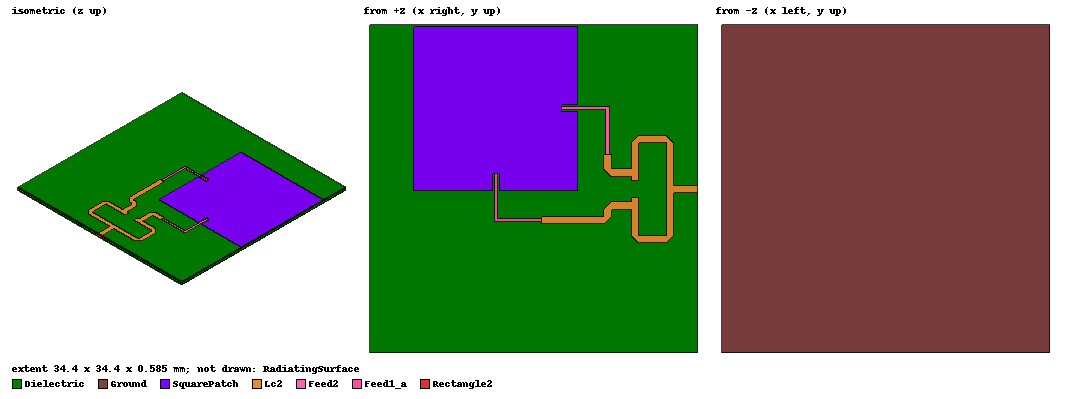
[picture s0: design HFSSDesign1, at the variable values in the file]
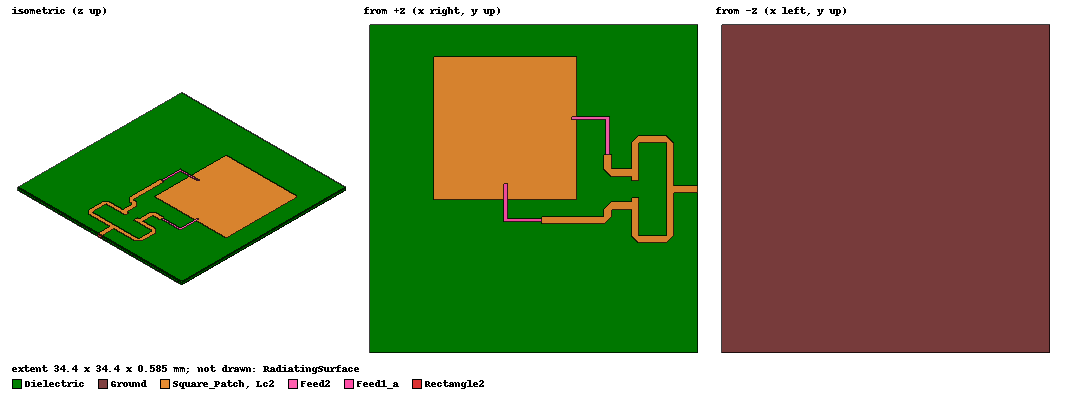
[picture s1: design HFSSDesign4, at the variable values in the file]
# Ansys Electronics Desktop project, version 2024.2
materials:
  vacuum: permittivity=1
  copper: permeability=0.999991 conductivity=58000000
  Rogers RO3003 (tm): permittivity=3 dielectric_loss_tangent=0.0013
  FR4_epoxy: permittivity=4.4 dielectric_loss_tangent=0.02

design HFSSDesign1 (HFSS, HFSS Modal Network, model units mm)
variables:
  w = 17.2mm
  w_g = 2*w
  t_diel = 0.508mm
  l = 17.2mm
  l_g = 2*w
  t_g = 0.035mm
  t = 0.035mm
  l_feed = 5mm
  w_feed = 0.34mm
  partial = 0.4
  L_offset = partial*l
  w_slot = 2*w_feed
  l_slot = l/2-L_offset
  L_Arm1 = l/2-l_slot
  W_Arm1 = W_50
  W_50 = 0.8mm
  L_50 = 8.21mm
  L_70 = 8.41mm
  R_70 = L_70/pi
  W_70 = 0.7mm
  g = 3mm
  L1_70 = 1.5mm
  L1_50 = 5mm
  L2_50 = 7.3mm
  W_diel = 2*(L2_50+g/2)
  L_diel = L_50+R_70+R_70-W_70/2+L1_50+L1_70+3*W_50
  spac = 3mm
  La = w/2-l_slot-spac
  Lb = (La/2)*1.5
  Lc = 1.5*Lb
  Ld = 1.5*Lb
  add_buffer = w/2+W_50/2-l_slot-La-W_50
  Le = 2*Lc-W_50+add_buffer
  Lf = Lb
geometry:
  Ground [copper] = box(corner=(-w_g/2, 0mm, 0mm), size=(w_g, l_g, t_g))
  coordinate_system DielBase = origin=(0mm, 0mm, t) x=(1mm, 0mm, 0mm) y=(0mm, 1mm, 0mm)
  Dielectric [Rogers RO3003 (tm)] = box(corner=(-w_g/2, 0mm, 0mm), size=(w_g, l_g, t_diel)) in DielBase
  coordinate_system DielTop = origin=(0mm, 0mm, t_diel) x=(1mm, 0mm, 0mm) y=(0mm, 1mm, 0mm) in DielBase
  Feed1 = box(corner=(-w_g/3, l_g/3, 0mm), size=(w_feed, l_feed, t)) in DielTop
  coordinate_system Feed1point = origin=(-w_g/3+w_feed/2, l_g/3+l_feed, 0) x=(1mm, 0mm, 0mm) y=(0mm, 1mm, 0mm) in DielTop
  coordinate_system Antenna1Start = origin=(0mm, -l_slot, 0mm) x=(1mm, 0mm, 0mm) y=(0mm, 1mm, 0mm) in Feed1point
  CUT1 = box(corner=(-w_slot/2, 0mm, 0mm), size=(w_slot, l_slot, t)) in Antenna1Start
  SquarePatch [copper] = box(corner=(-w/2, 0mm, 0mm), size=(w, l, t)) in Antenna1Start
  coordinate_system Antenna2Start2 = origin=(w/2, l/2, 0mm) x=(1mm, 0mm, 0mm) y=(0mm, 1mm, 0mm) in Antenna1Start
  coordinate_system Feed2Start = origin=(-l_slot, 0mm, 0mm) x=(1mm, 0mm, 0mm) y=(0mm, 1mm, 0mm) in Antenna2Start2
  Feed2 [copper] = box(corner=(0, -w_feed/2, 0), size=(l_feed, w_feed, t)) in Feed2Start
  CUT2 = box(corner=(-l_slot, -w_slot/2, 0), size=(l_slot, w_slot, t)) in Antenna2Start2
  Feed1_a [copper] = box(corner=(-w_g/3, l_g/3, 0mm), size=(l_feed, w_feed, t)) in DielTop
  Feed1_a.unite(Feed1)
  coordinate_system Feed2End = origin=(l_feed, 0mm, 0mm) x=(1mm, 0mm, 0mm) y=(0mm, 1mm, 0mm) in Feed2Start
  Feed2_a = box(corner=(-w_feed, w_feed/2, 0mm), size=(w_feed, -l_feed, t)) in Feed2End
  Feed2.unite(Feed2_a)
  SquarePatch.subtract(CUT1)
  SquarePatch.subtract(CUT2)
  coordinate_system Arm1Start = origin=(-w_feed/2+l_feed, -l_feed+w_feed/2, 0mm) x=(1mm, 0mm, 0mm) y=(0mm, 1mm, 0mm) in Feed1point
  Arm1 = box(corner=(0mm, -W_Arm1/2, 0mm), size=(L_Arm1, W_Arm1, t)) in Arm1Start
  coordinate_system Arm1End = origin=(L_Arm1, 0, 0mm) x=(1mm, 0mm, 0mm) y=(0mm, 1mm, 0mm) in Arm1Start
  coordinate_system Feed2aEnd = origin=(-w_feed/2, -l_feed+w_feed/2, 0mm) x=(1mm, 0mm, 0mm) y=(0mm, 1mm, 0mm) in Feed2End
  La1 = box(corner=(-W_50/2, 0, 0mm), size=(W_50, -La/2, t)) in Feed2aEnd
  coordinate_system La1End = origin=(-W_50/2, -La/2, 0mm) x=(1mm, 0mm, 0mm) y=(0mm, 1mm, 0mm) in Feed2aEnd
  Lb1 = box(corner=(0mm, -W_50/2, 0mm), size=(Lb, W_50, t)) in La1End
  coordinate_system La_mid = origin=(0, -La/2, 0mm) x=(1mm, 0mm, 0mm) y=(0mm, 1mm, 0mm) in Feed2aEnd
  Box1 = box(corner=(-W_50, 0, 0mm), size=(2*W_50, -2*W_50, t)) in La_mid
  Box1.rotate(axis=Z, angle=-45deg) in La_mid
  Box1_1 = Box1.copy()
  La1.subtract(Box1_1)
  Lb1.subtract(Box1)
  coordinate_system MidReference = origin=(0mm, La/2+ spac/2, 0mm) x=(1mm, 0mm, 0mm) y=(0mm, 1mm, 0mm) in Arm1End
  La2 = box(corner=(-W_50/2, -W_50/2, 0mm), size=(W_50, La/2, t)) in Arm1End
  coordinate_system La2End = origin=(0mm, -W_50/2+La/2, 0mm) x=(1mm, 0mm, 0mm) y=(0mm, 1mm, 0mm) in Arm1End
  Lb2 = box(corner=(-W_50/2, -W_50/2, 0mm), size=(Lb, W_50, t)) in La2End
  Cut = box(corner=(-W_50, 0mm, 0mm), size=(2*W_50, 2*W_50, t)) in La2End
  Cut.rotate(axis=Z, angle=45deg) in La2End
  Cut_1 = Cut.copy()
  La2.subtract(Cut_1)
  Lb2.subtract(Cut)
  Box2 = box(corner=(-W_50, -2*W_50, 0mm), size=(2*W_50, 2*W_50, t)) in Arm1End
  Box2.rotate(axis=Z, angle=45deg) in Arm1End
  Box2_1 = Box2.copy()
  Arm1.subtract(Box2_1)
  La2.subtract(Box2)
  coordinate_system Lb2End = origin=(Lb-W_50/2, 0mm, 0mm) x=(1mm, 0mm, 0mm) y=(0mm, 1mm, 0mm) in La2End
  Lc2 [copper] = box(corner=(0mm, W_50, 0mm), size=(w_70, -Lc, t)) in Lb2End
  coordinate_system Lb1End = origin=(Lb, 0mm, 0mm) x=(1mm, 0mm, 0mm) y=(0mm, 1mm, 0mm) in La1End
  Lc1 = box(corner=(0mm, -W_50, 0mm), size=(W_70, Lc, t)) in Lb1End
  coordinate_system Ld2Start = origin=(0mm, -Lc+W_50, 0mm) x=(1mm, 0mm, 0mm) y=(0mm, 1mm, 0mm) in Lb2End
  Ld2 = box(corner=(0mm, -W_70/2, 0mm), size=(Ld, W_70, t)) in Ld2Start
  coordinate_system Ld1Start = origin=(0, Lc-W_50, 0) x=(1mm, 0mm, 0mm) y=(0mm, 1mm, 0mm) in Lb1End
  Ld1 = box(corner=(0mm, -W_50/2, 0mm), size=(Ld, W_70, t)) in Ld1Start
  coordinate_system Ld2End = origin=(Ld, 0mm, 0mm) x=(1mm, 0mm, 0mm) y=(0mm, 1mm, 0mm) in Ld2Start
  Le = box(corner=(-W_70, 0mm, 0mm), size=(W_70, 2*Lc-W_50+add_buffer, t)) in Ld2End
  coordinate_system Ld1End = origin=(Ld, 0, 0) x=(1mm, 0mm, 0mm) y=(0mm, 1mm, 0mm) in Ld1Start
  coordinate_system CutMid1 = origin=(w_70/2, 0, 0) x=(1mm, 0mm, 0mm) y=(0mm, 1mm, 0mm) in Ld2Start
  coordinate_system CutMid2 = origin=(W_70/2, 0mm, 0mm) x=(1mm, 0mm, 0mm) y=(0mm, 1mm, 0mm) in Ld1Start
  coordinate_system CutMid3 = origin=(-W_70/2, 0mm, 0mm) x=(1mm, 0mm, 0mm) y=(0mm, 1mm, 0mm) in Ld2End
  coordinate_system CutMid4 = origin=(-W_70/2, 0mm, 0mm) x=(1mm, 0mm, 0mm) y=(0mm, 1mm, 0mm) in Ld1End
  CutA = box(corner=(-W_70, 0, 0mm), size=(2*W_70, -2*W_70, t)) in CutMid1
  CutA.rotate(axis=Z, angle=-45deg) in CutMid1
  CutB = box(corner=(-W_70, 0mm, 0mm), size=(2*W_70, 2*W_70, t)) in CutMid2
  CutB.rotate(axis=Z, angle=45deg) in CutMid2
  CutC = box(corner=(-W_70, 0mm, 0mm), size=(2*W_70, -2*W_70, t)) in CutMid3
  CutC.rotate(axis=Z, angle=45deg) in CutMid3
  CutD = box(corner=(-W_70, 0mm, 0), size=(2*W_70, 2*W_70, t)) in CutMid4
  CutD.rotate(axis=Z, angle=-45deg) in CutMid4
  CutA_1 = CutA.copy()
  Lc2.subtract(CutA_1)
  Ld2.subtract(CutA)
  CutB_1 = CutB.copy()
  Lc1.subtract(CutB_1)
  Ld1.subtract(CutB)
  CutC_1 = CutC.copy()
  Ld2.subtract(CutC_1)
  Le.subtract(CutC)
  CutD_1 = CutD.copy()
  Ld1.subtract(CutD_1)
  Le.subtract(CutD)
  coordinate_system FinalMid = origin=(0mm, Le/2, 0mm) x=(1mm, 0mm, 0mm) y=(0mm, 1mm, 0mm) in CutMid3
  Lf = box(corner=(0mm, -W_50/2, 0mm), size=(Lf, W_50, t)) in FinalMid
  [Dielectric, Ground].move(-21.685mm, -2.3233333mm, 0mm)
  [Dielectric, Ground].move(0mm, 0mm, 0mm)
  [Dielectric, Ground].move(14.333333mm, 3.5527137e-15mm, 0.035mm)
  RadiatingSurface [vacuum] = region(absolute_offset=18.181818mm on all sides)
  coordinate_system RelativeCS1 = origin=(0mm, 19.5mm, -3mm) x=(1mm, 0mm, 0mm) y=(0mm, 1mm, 0mm)
  [Dielectric, Ground].move(0mm, 0mm, -0.035mm) in CutMid1
  coordinate_system RelativeCS2 = origin=(6.575mm, 5.265mm, 0mm) x=(1mm, 0mm, 0mm) y=(0mm, 1mm, 0mm) in CutMid1
  Rectangle2 = rectangle(corner=(0mm, -0.4mm, 0.035mm), y_size=0.8mm, z_size=-0.585mm) in RelativeCS2
  Lc2.unite(La2, Lb2, Ld2, Le, Lf, Ld1, Lc1, Lb1, La1, Arm1)
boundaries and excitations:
  Open1: Radiation Objects=RadiatingSurface
  1: Lumped Port Objects=Rectangle2 LumpedPortType=Modal Modes{Mode1{IntLine{(9.8483333, 14.876667, 0) -> (9.8483333, 14.876667, 0.578)} CharImp=Zpi RenormImp=50ohm}} Impedance=50ohm
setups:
  Setup1: HfssDriven MultipleAdaptiveFreqsSetup{AdaptAt{Frequency=5.4GHz Delta=0.02} AdaptAt{Frequency=5.5GHz Delta=0.02} AdaptAt{Frequency=5.6GHz Delta=0.02}} MaximumPasses=6 MinimumPasses=1 MinimumConvergedPasses=1 PercentRefinement=30 BasisOrder=1 PortAccuracy=2 DrivenSolverType="Direct Solver"
    sweep Sweep: 4GHz to 7GHz, 151 points; Type=Interpolating SaveFields InterpTolerance=0.5 InterpMaxSolns=250 InterpUsePortImped=false PassivityErrorTolerance=0.0001
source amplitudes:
  1:1: 1W 0deg
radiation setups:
  3D: Infinite Sphere Theta=0deg..180deg step 2deg Phi=-180deg..180deg step 2deg
  Elevation: Infinite Sphere Theta=-180deg..180deg step 1deg Phi=0deg..90deg step 90deg
  Azimuth: Infinite Sphere Theta=90deg..90deg step 0deg Phi=-180deg..180deg step 1deg
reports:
  S Parameter Plot 1: dB(S(1,1)) vs Freq on Setup1 : Sweep; markers MX1 at x=4.7198306e+09

design HFSSDesign4 (HFSS, HFSS Modal Network, model units mm)
options: Allow_Material_Override
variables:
  w = 17.2mm
  w_g = 2*w
  t_diel = 0.508mm
  l = 17.2mm
  l_g = 2*w
  t_g = 0.035mm
  t = 0.035mm
  l_feed = 4mm
  w_feed = 0.34mm
  partial = 0.4
  L_offset = partial*l
  w_slot = 2*w_feed
  l_slot = l/2-L_offset
  L_Arm1 = l/2-l_slot
  W_Arm1 = W_50
  W_50 = 0.8mm
  L_50 = 8.21mm
  L_70 = 8.41mm
  R_70 = L_70/pi
  W_70 = 0.7mm
  g = 3mm
  L1_70 = 1.5mm
  L1_50 = 5mm
  L2_50 = 7.3mm
  W_diel = 2*(L2_50+g/2)
  L_diel = L_50+R_70+R_70-W_70/2+L1_50+L1_70+3*W_50
  spac = 3mm
  La = w/2-l_slot-spac
  Lb = (La/2)*1.5
  Lc = 1.5*Lb
  Ld = 1.5*Lb
  add_buffer = w/2+W_50/2-l_slot-La-W_50
  Le = 2*Lc-W_50+add_buffer
  Lf = Lb
  w_patch = 15mm
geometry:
  Ground [copper] = box(corner=(-w_g/2, 0mm, 0mm), size=(w_g, l_g, t_g))
  coordinate_system DielBase = origin=(0mm, 0mm, t) x=(1mm, 0mm, 0mm) y=(0mm, 1mm, 0mm)
  Dielectric [Rogers RO3003 (tm)] = box(corner=(-w_g/2, 0mm, 0mm), size=(w_g, l_g, t_diel)) in DielBase
  coordinate_system DielTop = origin=(0mm, 0mm, t_diel) x=(1mm, 0mm, 0mm) y=(0mm, 1mm, 0mm) in DielBase
  Feed1 = box(corner=(-w_g/3, l_g/3, 0mm), size=(w_feed, l_feed, t)) in DielTop
  coordinate_system Feed1point = origin=(-w_g/3+w_feed/2, l_g/3+l_feed, 0) x=(1mm, 0mm, 0mm) y=(0mm, 1mm, 0mm) in DielTop
  coordinate_system Antenna1Start = origin=(0mm, -l_slot, 0mm) x=(1mm, 0mm, 0mm) y=(0mm, 1mm, 0mm) in Feed1point
  coordinate_system Antenna2Start2 = origin=(w/2, l/2, 0mm) x=(1mm, 0mm, 0mm) y=(0mm, 1mm, 0mm) in Antenna1Start
  coordinate_system Feed2Start = origin=(-l_slot, 0mm, 0mm) x=(1mm, 0mm, 0mm) y=(0mm, 1mm, 0mm) in Antenna2Start2
  Feed2 [copper] = box(corner=(0, -w_feed/2, 0), size=(l_feed, w_feed, t)) in Feed2Start
  Feed1_a [copper] = box(corner=(-w_g/3, l_g/3, 0mm), size=(l_feed, w_feed, t)) in DielTop
  Feed1_a.unite(Feed1)
  coordinate_system Feed2End = origin=(l_feed, 0mm, 0mm) x=(1mm, 0mm, 0mm) y=(0mm, 1mm, 0mm) in Feed2Start
  Feed2_a = box(corner=(-w_feed, w_feed/2, 0mm), size=(w_feed, -l_feed, t)) in Feed2End
  Feed2.unite(Feed2_a)
  coordinate_system Arm1Start = origin=(-w_feed/2+l_feed, -l_feed+w_feed/2, 0mm) x=(1mm, 0mm, 0mm) y=(0mm, 1mm, 0mm) in Feed1point
  Arm1 = box(corner=(0mm, -W_Arm1/2, 0mm), size=(L_Arm1, W_Arm1, t)) in Arm1Start
  coordinate_system Arm1End = origin=(L_Arm1, 0, 0mm) x=(1mm, 0mm, 0mm) y=(0mm, 1mm, 0mm) in Arm1Start
  coordinate_system Feed2aEnd = origin=(-w_feed/2, -l_feed+w_feed/2, 0mm) x=(1mm, 0mm, 0mm) y=(0mm, 1mm, 0mm) in Feed2End
  La1 = box(corner=(-W_50/2, 0, 0mm), size=(W_50, -La/2, t)) in Feed2aEnd
  coordinate_system La1End = origin=(-W_50/2, -La/2, 0mm) x=(1mm, 0mm, 0mm) y=(0mm, 1mm, 0mm) in Feed2aEnd
  Lb1 = box(corner=(0mm, -W_50/2, 0mm), size=(Lb, W_50, t)) in La1End
  coordinate_system La_mid = origin=(0, -La/2, 0mm) x=(1mm, 0mm, 0mm) y=(0mm, 1mm, 0mm) in Feed2aEnd
  Box1 = box(corner=(-W_50, 0, 0mm), size=(2*W_50, -2*W_50, t)) in La_mid
  Box1.rotate(axis=Z, angle=-45deg) in La_mid
  Box1_1 = Box1.copy()
  La1.subtract(Box1_1)
  Lb1.subtract(Box1)
  coordinate_system MidReference = origin=(0mm, La/2+ spac/2, 0mm) x=(1mm, 0mm, 0mm) y=(0mm, 1mm, 0mm) in Arm1End
  La2 = box(corner=(-W_50/2, -W_50/2, 0mm), size=(W_50, La/2, t)) in Arm1End
  coordinate_system La2End = origin=(0mm, -W_50/2+La/2, 0mm) x=(1mm, 0mm, 0mm) y=(0mm, 1mm, 0mm) in Arm1End
  Lb2 = box(corner=(-W_50/2, -W_50/2, 0mm), size=(Lb, W_50, t)) in La2End
  Cut = box(corner=(-W_50, 0mm, 0mm), size=(2*W_50, 2*W_50, t)) in La2End
  Cut.rotate(axis=Z, angle=45deg) in La2End
  Cut_1 = Cut.copy()
  La2.subtract(Cut_1)
  Lb2.subtract(Cut)
  Box2 = box(corner=(-W_50, -2*W_50, 0mm), size=(2*W_50, 2*W_50, t)) in Arm1End
  Box2.rotate(axis=Z, angle=45deg) in Arm1End
  Box2_1 = Box2.copy()
  Arm1.subtract(Box2_1)
  La2.subtract(Box2)
  coordinate_system Lb2End = origin=(Lb-W_50/2, 0mm, 0mm) x=(1mm, 0mm, 0mm) y=(0mm, 1mm, 0mm) in La2End
  Lc2 [copper] = box(corner=(0mm, W_50, 0mm), size=(w_70, -Lc, t)) in Lb2End
  coordinate_system Lb1End = origin=(Lb, 0mm, 0mm) x=(1mm, 0mm, 0mm) y=(0mm, 1mm, 0mm) in La1End
  Lc1 = box(corner=(0mm, -W_50, 0mm), size=(W_70, Lc, t)) in Lb1End
  coordinate_system Ld2Start = origin=(0mm, -Lc+W_50, 0mm) x=(1mm, 0mm, 0mm) y=(0mm, 1mm, 0mm) in Lb2End
  Ld2 = box(corner=(0mm, -W_70/2, 0mm), size=(Ld, W_70, t)) in Ld2Start
  coordinate_system Ld1Start = origin=(0, Lc-W_50, 0) x=(1mm, 0mm, 0mm) y=(0mm, 1mm, 0mm) in Lb1End
  Ld1 = box(corner=(0mm, -W_50/2, 0mm), size=(Ld, W_70, t)) in Ld1Start
  coordinate_system Ld2End = origin=(Ld, 0mm, 0mm) x=(1mm, 0mm, 0mm) y=(0mm, 1mm, 0mm) in Ld2Start
  Le = box(corner=(-W_70, 0mm, 0mm), size=(W_70, 2*Lc-W_50+add_buffer, t)) in Ld2End
  coordinate_system Ld1End = origin=(Ld, 0, 0) x=(1mm, 0mm, 0mm) y=(0mm, 1mm, 0mm) in Ld1Start
  coordinate_system CutMid1 = origin=(w_70/2, 0, 0) x=(1mm, 0mm, 0mm) y=(0mm, 1mm, 0mm) in Ld2Start
  coordinate_system CutMid2 = origin=(W_70/2, 0mm, 0mm) x=(1mm, 0mm, 0mm) y=(0mm, 1mm, 0mm) in Ld1Start
  coordinate_system CutMid3 = origin=(-W_70/2, 0mm, 0mm) x=(1mm, 0mm, 0mm) y=(0mm, 1mm, 0mm) in Ld2End
  coordinate_system CutMid4 = origin=(-W_70/2, 0mm, 0mm) x=(1mm, 0mm, 0mm) y=(0mm, 1mm, 0mm) in Ld1End
  CutA = box(corner=(-W_70, 0, 0mm), size=(2*W_70, -2*W_70, t)) in CutMid1
  CutA.rotate(axis=Z, angle=-45deg) in CutMid1
  CutB = box(corner=(-W_70, 0mm, 0mm), size=(2*W_70, 2*W_70, t)) in CutMid2
  CutB.rotate(axis=Z, angle=45deg) in CutMid2
  CutC = box(corner=(-W_70, 0mm, 0mm), size=(2*W_70, -2*W_70, t)) in CutMid3
  CutC.rotate(axis=Z, angle=45deg) in CutMid3
  CutD = box(corner=(-W_70, 0mm, 0), size=(2*W_70, 2*W_70, t)) in CutMid4
  CutD.rotate(axis=Z, angle=-45deg) in CutMid4
  CutA_1 = CutA.copy()
  Lc2.subtract(CutA_1)
  Ld2.subtract(CutA)
  CutB_1 = CutB.copy()
  Lc1.subtract(CutB_1)
  Ld1.subtract(CutB)
  CutC_1 = CutC.copy()
  Ld2.subtract(CutC_1)
  Le.subtract(CutC)
  CutD_1 = CutD.copy()
  Ld1.subtract(CutD_1)
  Le.subtract(CutD)
  coordinate_system FinalMid = origin=(0mm, Le/2, 0mm) x=(1mm, 0mm, 0mm) y=(0mm, 1mm, 0mm) in CutMid3
  Lf = box(corner=(0mm, -W_50/2, 0mm), size=(Lf, W_50, t)) in FinalMid
  [Dielectric, Ground].move(-21.685mm, -2.3233333mm, 0mm)
  [Dielectric, Ground].move(0mm, 0mm, 0mm)
  [Dielectric, Ground].move(14.333333mm, 3.5527137e-15mm, 0.035mm)
  RadiatingSurface [vacuum] = region(absolute_offset=18.181818mm on all sides)
  coordinate_system RelativeCS1 = origin=(0mm, 19.5mm, -3mm) x=(1mm, 0mm, 0mm) y=(0mm, 1mm, 0mm)
  [Dielectric, Ground].move(0mm, 0mm, -0.035mm) in CutMid1
  coordinate_system RelativeCS2 = origin=(6.575mm, 5.265mm, 0mm) x=(1mm, 0mm, 0mm) y=(0mm, 1mm, 0mm) in CutMid1
  Rectangle2 = rectangle(corner=(0mm, -0.4mm, 0.035mm), y_size=0.8mm, z_size=-0.585mm) in RelativeCS2
  Lc2.unite(La2, Lb2, Ld2, Le, Lf, Ld1, Lc1, Lb1, La1, Arm1)
  [Dielectric, Ground].move(-1mm, 0mm, 0mm) in RelativeCS2
  Square_Patch [copper] = box(corner=(-w_patch/2, -l_slot, 0mm), size=(w_patch, w_patch, t)) in Feed1point
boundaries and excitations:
  Open1: Radiation Objects=RadiatingSurface
  1: Lumped Port Objects=Rectangle2 LumpedPortType=Modal Modes{Mode1{IntLine{(8.8483333, 14.876667, 0) -> (8.8483333, 14.876667, 0.578)} CharImp=Zpi RenormImp=50ohm}} Impedance=50ohm
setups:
  Setup1: HfssDriven MultipleAdaptiveFreqsSetup{AdaptAt{Frequency=5.4GHz Delta=0.02} AdaptAt{Frequency=5.5GHz Delta=0.02} AdaptAt{Frequency=5.6GHz Delta=0.02}} MaximumPasses=6 MinimumPasses=1 MinimumConvergedPasses=1 PercentRefinement=30 BasisOrder=1 PortAccuracy=2 DrivenSolverType="Direct Solver"
    sweep Sweep: 4GHz to 7GHz, 151 points; Type=Interpolating SaveFields InterpTolerance=0.5 InterpMaxSolns=250 InterpUsePortImped=false PassivityErrorTolerance=0.0001
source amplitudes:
  1:1: 1W 0deg
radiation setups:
  3D: Infinite Sphere Theta=0deg..180deg step 2deg Phi=-180deg..180deg step 2deg
  Elevation: Infinite Sphere Theta=-180deg..180deg step 1deg Phi=0deg..90deg step 90deg
  Azimuth: Infinite Sphere Theta=90deg..90deg step 0deg Phi=-180deg..180deg step 1deg
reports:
  S Parameter Plot 1: dB(S(1,1)) vs Freq on Setup1 : Sweep; markers m1 at 5.48GHz, MX1 at x=5.4796196e+09
  S Parameter Plot 4: dB(S(1,1)) vs Freq, w on Setup1 : Sweep
